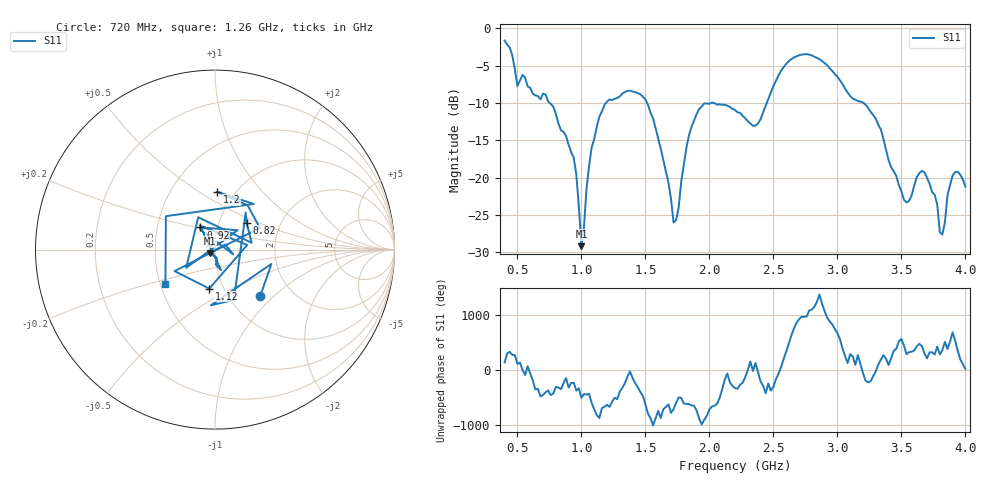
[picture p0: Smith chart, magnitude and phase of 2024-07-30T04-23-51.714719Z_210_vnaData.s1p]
!Created with skrf (http://scikit-rf.org).
# Hz S RI R 50.0
!freq ReS11 ImS11
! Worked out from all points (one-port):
!   181 points, 400 MHz to 4 GHz, reference 50 ohm
!   lowest |S11| = -29.2 dB at 1 GHz (marker M1), VSWR 1.07, Z = 47.2 - j1.85 ohm
!   |S11| at or under -10 dB: 752.5 MHz to 1.192 GHz (439.7 MHz wide, 45.2 % of centre); 1.513 GHz to 2.015 GHz (502.3 MHz wide, 28.5 % of centre); 3.204 GHz to end of sweep (the widest 3 of 4)
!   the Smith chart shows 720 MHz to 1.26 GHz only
!   S11 on the Smith chart (normalised r, x): 720 MHz: 1.40, -0.82; 820 MHz: 1.35, +0.43; 920 MHz: 0.83, +0.21; 1.12 GHz: 0.86, -0.39; 1.2 GHz: 0.83, +0.60; 1.26 GHz: 0.53, -0.23
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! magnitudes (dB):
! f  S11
! 400 MHz  -1.6
! 500 MHz  -7.7
! 720 MHz  -8.9
! 820 MHz  -12.7
! 860 MHz  -13.9
! 920 MHz  -16.6
! 960 MHz  -19.6
! 1 GHz  -29.2
! 1.06 GHz  -18.5
! 1.12 GHz  -13.2
! 1.2 GHz  -9.8
! 1.26 GHz  -9.4
! 1.3 GHz  -9.1
! 1.5 GHz  -9.5
! 1.72 GHz  -26.0
! 1.76 GHz  -24.0
! 1.84 GHz  -14.4
! 1.92 GHz  -10.8
! 2.2 GHz  -10.9
! 2.36 GHz  -13.1
! 2.66 GHz  -3.9
! 3.1 GHz  -9.1
! 3.3 GHz  -12.1
! 3.56 GHz  -23.1
! 3.68 GHz  -19.3
! 3.82 GHz  -27.6
! 3.9 GHz  -19.7
! 4 GHz  -21.2
